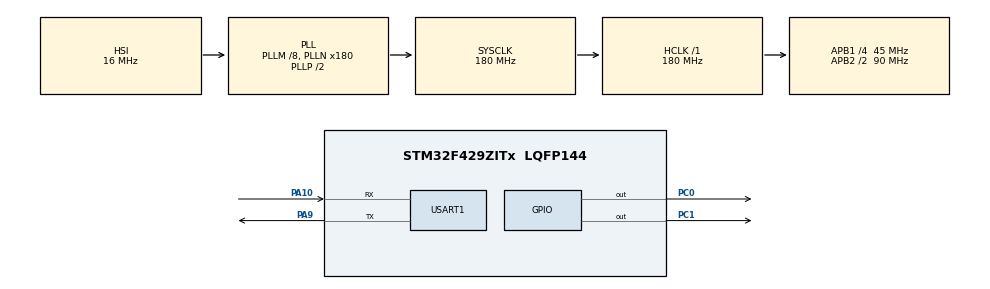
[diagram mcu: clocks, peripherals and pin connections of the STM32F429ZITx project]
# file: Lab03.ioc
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Mcu.Family=STM32F4
Mcu.Name=STM32F429ZITx
Mcu.Package=LQFP144
NVIC.PriorityGroup=NVIC_PRIORITYGROUP_4
PA10.Mode=Asynchronous
PA10.Signal=USART1_RX
PA9.Mode=Asynchronous
PA9.Signal=USART1_TX
PC0.Signal=GPIO_Output
PC1.Signal=GPIO_Output
ProjectManager.HeapSize=0x200
ProjectManager.StackSize=0x400
ProjectManager.TargetToolchain=STM32CubeIDE
RCC.48MHZClocksFreq_Value=90000000
RCC.AHBFreq_Value=180000000
RCC.APB1CLKDivider=RCC_HCLK_DIV4
RCC.APB1Freq_Value=45000000
RCC.APB1TimFreq_Value=90000000
RCC.APB2CLKDivider=RCC_HCLK_DIV2
RCC.APB2Freq_Value=90000000
RCC.APB2TimFreq_Value=180000000
RCC.CortexFreq_Value=180000000
RCC.HCLKFreq_Value=180000000
RCC.HSE_VALUE=25000000
RCC.HSI_VALUE=16000000
RCC.LSE_VALUE=32768
RCC.PLLM=8
RCC.PLLN=180
RCC.SYSCLKFreq_VALUE=180000000
RCC.SYSCLKSource=RCC_SYSCLKSOURCE_PLLCLK
RCC.VCOOutputFreq_Value=360000000
USART1.VirtualMode=VM_ASYNC
board=custom

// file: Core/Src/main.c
/* USER CODE BEGIN Header */
/**
  ******************************************************************************
  * @file           : main.c
  * @brief          : Main program body
  ******************************************************************************
  * @attention
  *
  * <h2><center>&copy; Copyright (c) 2021 STMicroelectronics.
  * All rights reserved.</center></h2>
  *
  * This software component is licensed by ST under BSD 3-Clause license,
  * the "License"; You may not use this file except in compliance with the
  * License. You may obtain a copy of the License at:
  *                        opensource.org/licenses/BSD-3-Clause
  *
  ******************************************************************************
  */
/* USER CODE END Header */
#include "main.h"
#include "usart.h"
#include "gpio.h"

/* USER CODE BEGIN Includes */
#include "string.h"
/* USER CODE END Includes */

void SystemClock_Config(void);

int main(void)
{
  /* USER CODE BEGIN 1 */
  uint8_t lab3 = 0;
  uint8_t lab4 = 0;
  /* USER CODE END 1 */

  /* MCU Configuration--------------------------------------------------------*/

  /* Reset of all peripherals, Initializes the Flash interface and the Systick. */
  HAL_Init();

  /* Configure the system clock */
  SystemClock_Config();

  /* Initialize all configured peripherals */
  MX_GPIO_Init();
  MX_USART1_UART_Init();
  /* USER CODE BEGIN 2 */

  	 /* Lab3 */
  char strIntro[]="Input => ";
  while(__HAL_UART_GET_FLAG(&huart1,UART_FLAG_TC)==RESET){}
  HAL_UART_Transmit(&huart1, (uint8_t*)strIntro, strlen(strIntro),1000);

//    /* Lab4 */
//  char intro[] = "Display Blinking LED PRESS (1, 2)\r\nDisplay Group Members Press m\r\nQuit PRESS q\r\n		Input => ";
//  while(__HAL_UART_GET_FLAG(&huart1,UART_FLAG_TC)==RESET){}
//  HAL_UART_Transmit(&huart1, (uint8_t*)intro, strlen(intro),1000);
//  HAL_GPIO_WritePin(GPIOC,GPIO_PIN_0,GPIO_PIN_SET);
//  HAL_GPIO_WritePin(GPIOC,GPIO_PIN_1,GPIO_PIN_SET);

  /* USER CODE END 2 */

  /* Infinite loop */
  while (1)
  {

    /* USER CODE BEGIN 3 */
//	  	  /* Lab1 */
//	  	  char str[]= "Hello, World!!\r\n";
//	  	  while(__HAL_UART_GET_FLAG(&huart1,UART_FLAG_TC)==RESET){}
//	  	  HAL_UART_Transmit(&huart1, (uint8_t*)str, strlen(str),1000);
//	  	  HAL_Delay(500);

//	  	  /* Lab2 */
//	  	  char ch1 = 'A';
//	  	  while(__HAL_UART_GET_FLAG(&huart1,UART_FLAG_TC)==RESET){} HAL_UART_Transmit(&huart1, (uint8_t*)&ch1, 1,1000);
//	  	  HAL_Delay(500);

	  	  /* Lab3 */
	  	  while(lab3==0){
	  		  	  char inp;
	  		  	  char str[]="Input => ";
	  		  	  char str1[]="\r\n";
	  		  	  char strEnd[]="QUIT\r\n";
	  		  	  while(__HAL_UART_GET_FLAG(&huart1,UART_FLAG_RXNE)==RESET){}
	  		  	  while(__HAL_UART_GET_FLAG(&huart1,UART_FLAG_TC)==RESET){}
	  		  	  HAL_UART_Receive(&huart1, (uint8_t*)&inp, 1,1000);
	  		  	  HAL_Delay(500);
	  		  	  HAL_UART_Transmit(&huart1, (uint8_t*)&inp, 1,1000);
	  		  	  HAL_UART_Transmit(&huart1, (uint8_t*)str1, strlen(str1),1000);
	  		  	  if(inp == 'q'){
	  		  		HAL_UART_Transmit(&huart1, (uint8_t*)strEnd, strlen(strEnd),1000);
	  		  		lab3 = 1;
	  		  	  }else{
	  		  		HAL_UART_Transmit(&huart1, (uint8_t*)str, strlen(str),1000);
	  		  	  }
	      }

//	  	  	  /* Lab4 */
//	  	  	  while(lab4==0){
//	  	  		  	  char inp;
//	  	  		  	  char str[]="		Input => ";
//	  	  		  	  char str1[]="\r\n";
//	  	  		  	  char Unknown[]="Unknown Command\r\n";
//	  	  		  	  char strEnd[]="QUIT\r\n";
//	  	  		      while(__HAL_UART_GET_FLAG(&huart1,UART_FLAG_TC)==RESET){}
//	  	  		  	  while(__HAL_UART_GET_FLAG(&huart1,UART_FLAG_RXNE)==RESET){}
//	  	  		  	  HAL_UART_Receive(&huart1, (uint8_t*)&inp, 1,1000);
//	  	  		  	  HAL_Delay(500);
//	  	  		  	  HAL_UART_Transmit(&huart1, (uint8_t*)&inp, 1,1000);
//	  	  		  	  HAL_UART_Transmit(&huart1, (uint8_t*)str1, strlen(str1),1000);
//	  	  		  	  if(inp == 'q'){
//	  	  		  		HAL_UART_Transmit(&huart1, (uint8_t*)strEnd, strlen(strEnd),1000);
//	  	  		  		lab4 = 1;
//	  	  		  	  }
//	  	  		  	  else if(inp == '1'){
//	  	  		  		HAL_GPIO_WritePin(GPIOC,GPIO_PIN_0,GPIO_PIN_RESET);
//	  	  		  		HAL_Delay(300);
//	  	  		  		HAL_GPIO_WritePin(GPIOC,GPIO_PIN_0,GPIO_PIN_SET);
//	  	  		  		HAL_Delay(300);
//	  	  		  	    HAL_GPIO_WritePin(GPIOC,GPIO_PIN_0,GPIO_PIN_RESET);
//	  	  		  		HAL_Delay(300);
//	  	  		  		HAL_GPIO_WritePin(GPIOC,GPIO_PIN_0,GPIO_PIN_SET);
//	  	  		  		HAL_Delay(300);
//	  	  		  		HAL_GPIO_WritePin(GPIOC,GPIO_PIN_0,GPIO_PIN_RESET);
//	  	  		  		HAL_Delay(300);
//	  	  		  		HAL_GPIO_WritePin(GPIOC,GPIO_PIN_0,GPIO_PIN_SET);
//	  	  		  		HAL_Delay(300);
//	  	  		  		HAL_UART_Transmit(&huart1, (uint8_t*)str, strlen(str),1000);
//	  	  		  	  }
//	  	  		  	  else if(inp == '2'){
//	  	  		  	HAL_GPIO_WritePin(GPIOC,GPIO_PIN_1,GPIO_PIN_RESET);
//	  	  		  	HAL_Delay(300);
//	  	  		  	HAL_GPIO_WritePin(GPIOC,GPIO_PIN_1,GPIO_PIN_SET);
//	  	  		  	HAL_Delay(300);
//	  	  		  	HAL_GPIO_WritePin(GPIOC,GPIO_PIN_1,GPIO_PIN_RESET);
//	  	  		  	HAL_Delay(300);
//	  	  		  	HAL_GPIO_WritePin(GPIOC,GPIO_PIN_1,GPIO_PIN_SET);
//	  	  		  	HAL_Delay(300);
//	  	  		  	HAL_GPIO_WritePin(GPIOC,GPIO_PIN_1,GPIO_PIN_RESET);
//	  	  		  	HAL_Delay(300);
//	  	  		  	HAL_GPIO_WritePin(GPIOC,GPIO_PIN_1,GPIO_PIN_SET);
//	  	  		  	HAL_Delay(300);
//	  	  		  		HAL_UART_Transmit(&huart1, (uint8_t*)str, strlen(str),1000);
//	  	  		  	  }
//	  	  		      else if(inp == 'm'){
//	  	  		    	char Name[]="62010193\r\nChatkul Rattanarithikul\r\n";
//	  	  		        HAL_UART_Transmit(&huart1, (uint8_t*)Name, strlen(Name),1000);
//	  	  		  	    HAL_UART_Transmit(&huart1, (uint8_t*)str, strlen(str),1000);
//	  	  		  	  }
//	  	  		      else{
//	  	  		    	HAL_UART_Transmit(&huart1, (uint8_t*)Unknown, strlen(Unknown),1000);
//	  	  		    	HAL_UART_Transmit(&huart1, (uint8_t*)str, strlen(str),1000);
//	  	  		      }
//	  	      }
	  	  	  //
  }
  /* USER CODE END 3 */
}

void SystemClock_Config(void)
{
  RCC_OscInitTypeDef RCC_OscInitStruct = {0};
  RCC_ClkInitTypeDef RCC_ClkInitStruct = {0};

  /** Configure the main internal regulator output voltage
  */
  __HAL_RCC_PWR_CLK_ENABLE();
  __HAL_PWR_VOLTAGESCALING_CONFIG(PWR_REGULATOR_VOLTAGE_SCALE1);
  /** Initializes the RCC Oscillators according to the specified parameters
  * in the RCC_OscInitTypeDef structure.
  */
  RCC_OscInitStruct.OscillatorType = RCC_OSCILLATORTYPE_HSI;
  RCC_OscInitStruct.HSIState = RCC_HSI_ON;
  RCC_OscInitStruct.HSICalibrationValue = RCC_HSICALIBRATION_DEFAULT;
  RCC_OscInitStruct.PLL.PLLState = RCC_PLL_ON;
  RCC_OscInitStruct.PLL.PLLSource = RCC_PLLSOURCE_HSI;
  RCC_OscInitStruct.PLL.PLLM = 8;
  RCC_OscInitStruct.PLL.PLLN = 180;
  RCC_OscInitStruct.PLL.PLLP = RCC_PLLP_DIV2;
  RCC_OscInitStruct.PLL.PLLQ = 4;
  if (HAL_RCC_OscConfig(&RCC_OscInitStruct) != HAL_OK)
  {
    Error_Handler();
  }
  /** Activate the Over-Drive mode
  */
  if (HAL_PWREx_EnableOverDrive() != HAL_OK)
  {
    Error_Handler();
  }
  /** Initializes the CPU, AHB and APB buses clocks
  */
  RCC_ClkInitStruct.ClockType = RCC_CLOCKTYPE_HCLK|RCC_CLOCKTYPE_SYSCLK
                              |RCC_CLOCKTYPE_PCLK1|RCC_CLOCKTYPE_PCLK2;
  RCC_ClkInitStruct.SYSCLKSource = RCC_SYSCLKSOURCE_PLLCLK;
  RCC_ClkInitStruct.AHBCLKDivider = RCC_SYSCLK_DIV1;
  RCC_ClkInitStruct.APB1CLKDivider = RCC_HCLK_DIV4;
  RCC_ClkInitStruct.APB2CLKDivider = RCC_HCLK_DIV2;

  if (HAL_RCC_ClockConfig(&RCC_ClkInitStruct, FLASH_LATENCY_5) != HAL_OK)
  {
    Error_Handler();
  }
}

void Error_Handler(void)
{
  __disable_irq();
  while (1)
  {
  }
}

/************************ (C) COPYRIGHT STMicroelectronics *****END OF FILE****/
